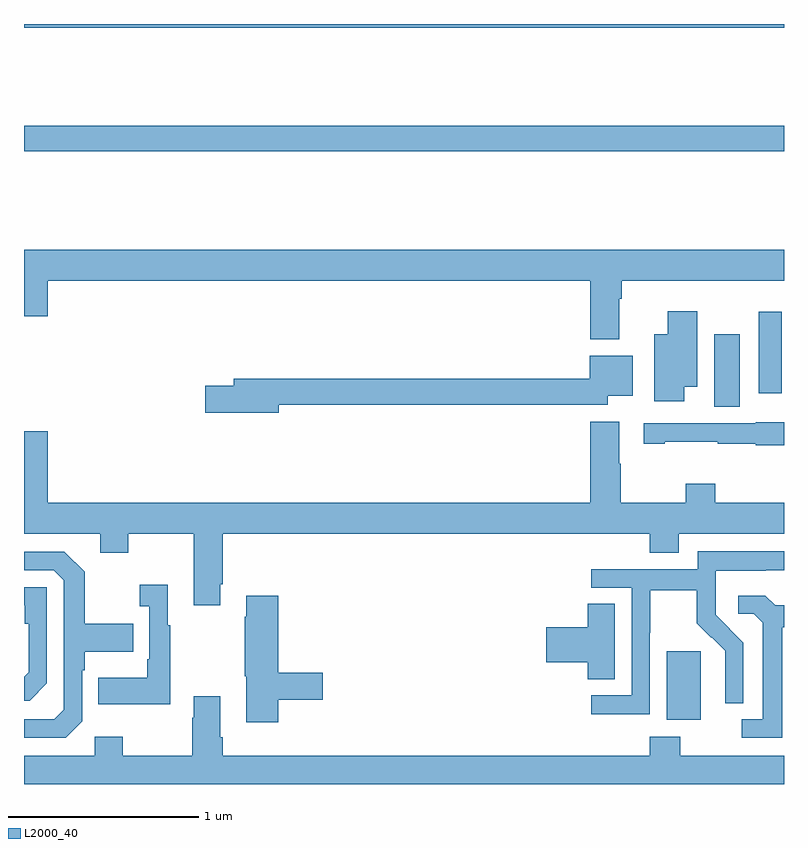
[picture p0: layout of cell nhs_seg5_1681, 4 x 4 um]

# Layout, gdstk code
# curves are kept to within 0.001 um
import gdstk
lib = gdstk.Library(unit=1e-6, precision=1e-09)
def R(c, l, rs):  # rectangles x0, y0, x1, y1
    for r in rs: c.add(gdstk.rectangle(r[:2], r[2:], *l))
def P(c, l, *ps):  # polygons
    for p in ps: c.add(gdstk.Polygon(p, *l))
L2000_40 = (2000, 40)

nhs_seg5_1681 = lib.new_cell('nhs_seg5_1681')
R(nhs_seg5_1681, L2000_40, [(216.383,833.138,216.562,833.499), (216.632,834.784,216.766,835.165), (216.866,834.855,216.988,835.285), (213,836.128,217,836.264), (213,836.78,217,836.799)])
P(nhs_seg5_1681, L2000_40, [(216.133,835.352),(216.146,835.352),(216.146,835.448),(217,835.448),(217,835.612),(213,835.612),(213,835.26),(213.124,835.26),(213.124,835.448),(215.981,835.448),(215.981,835.139),(216.133,835.139)],
  [(216.475,834.89),(216.544,834.89),(216.544,835.288),(216.389,835.288),(216.389,835.165),(216.317,835.165),(216.317,834.813),(216.475,834.813)],
  [(214.342,834.796),(216.072,834.796),(216.072,834.842),(216.205,834.842),(216.205,835.054),(215.978,835.054),(215.978,834.932),(214.103,834.932),(214.103,834.896),(213.954,834.896),(213.954,834.754),(214.342,834.754)],
  [(216.141,834.485),(216.133,834.485),(216.133,834.706),(215.981,834.706),(215.981,834.28),(213.124,834.28),(213.124,834.655),(213,834.655),(213,834.116),(213.401,834.116),(213.401,834.017),(213.549,834.017),(213.549,834.116),(213.893,834.116),(213.893,833.739),(214.033,833.739),(214.033,833.851),(214.046,833.851),(214.046,834.116),(216.293,834.116),(216.293,834.017),(216.445,834.017),(216.445,834.116),(217,834.116),(217,834.28),(216.639,834.28),(216.639,834.379),(216.484,834.379),(216.484,834.28),(216.141,834.28)],
  [(217,834.703),(216.852,834.703),(216.852,834.699),(216.261,834.699),(216.261,834.591),(216.373,834.591),(216.373,834.601),(216.652,834.601),(216.652,834.591),(216.852,834.591),(216.852,834.581),(217,834.581)],
  [(216.294,833.596),(216.297,833.596),(216.297,833.82),(216.541,833.82),(216.541,833.645),(216.618,833.568),(216.621,833.571),(216.692,833.501),(216.692,833.378),(216.69,833.378),(216.69,833.224),(216.786,833.224),(216.786,833.542),(216.64,833.69),(216.64,833.787),(216.642,833.787),(216.642,833.921),(216.905,833.921),(216.905,833.925),(217,833.925),(217,834.025),(216.546,834.025),(216.546,833.928),(215.985,833.928),(215.985,833.832),(216.198,833.832),(216.198,833.265),(215.985,833.265),(215.985,833.167),(216.294,833.167)],
  [(213.306,833.13),(213.306,833.399),(213.319,833.399),(213.319,833.495),(213.575,833.495),(213.575,833.643),(213.319,833.643),(213.319,833.915),(213.213,834.021),(213,834.021),(213,833.925),(213.156,833.925),(213.21,833.871),(213.21,833.19),(213.159,833.139),(213,833.139),(213,833.043),(213.219,833.043)],
  [(213.769,833.635),(213.757,833.635),(213.757,833.848),(213.609,833.848),(213.609,833.735),(213.66,833.735),(213.66,833.455),(213.648,833.455),(213.648,833.359),(213.391,833.359),(213.391,833.219),(213.769,833.219)],
  [(213.12,833.328),(213.12,833.835),(213,833.835),(213,833.739),(213.004,833.739),(213.004,833.642),(213.024,833.642),(213.024,833.388),(213,833.364),(213,833.238),(213.03,833.238)],
  [(214.337,833.242),(214.573,833.242),(214.573,833.384),(214.337,833.384),(214.337,833.791),(214.169,833.791),(214.169,833.678),(214.162,833.678),(214.162,833.367),(214.169,833.367),(214.169,833.124),(214.337,833.124)],
  [(216.991,833.624),(217,833.624),(217,833.739),(216.954,833.739),(216.902,833.791),(216.759,833.791),(216.759,833.694),(216.84,833.694),(216.887,833.647),(216.887,833.139),(216.777,833.139),(216.777,833.043),(216.991,833.043)],
  [(216.109,833.747),(215.966,833.747),(215.966,833.624),(215.748,833.624),(215.748,833.441),(215.966,833.441),(215.966,833.35),(216.109,833.35)],
  [(217,832.948),(216.453,832.948),(216.453,833.047),(216.293,833.047),(216.293,832.948),(214.046,832.948),(214.046,833.044),(214.033,833.044),(214.033,833.26),(213.893,833.26),(213.893,833.147),(213.886,833.147),(213.886,832.948),(213.519,832.948),(213.519,833.047),(213.372,833.047),(213.372,832.948),(213,832.948),(213,832.799),(217,832.799)])

lib.write_gds('nhs_seg5_1681.gds')
